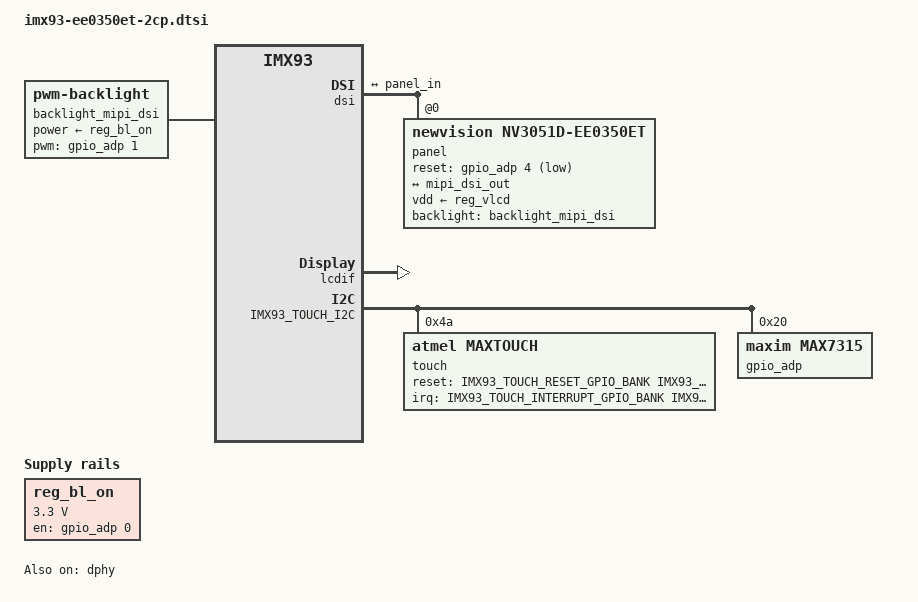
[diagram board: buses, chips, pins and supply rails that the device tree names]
// SPDX-License-Identifier: GPL-2.0
/*
* Copyright 2024 F&S Elektronik Systeme GmbH
*
* This program is free software; you can redistribute it and/or modify
* it under the terms of the GNU General Public License version 2 as
* published by the Free Software Foundation.
*
* This program is distributed in the hope that it will be useful,
* but WITHOUT ANY WARRANTY; without even the implied warranty of
* MERCHANTABILITY or FITNESS FOR A PARTICULAR PURPOSE.  See the
* GNU General Public License for more details.
*/


/ {
	reg_bl_on: bl_on {
		compatible = "regulator-fixed";
		regulator-name = "BL_ON";
		gpio = <&gpio_adp 0 GPIO_ACTIVE_HIGH>;
		regulator-min-microvolt = <3300000>;
		regulator-max-microvolt = <3300000>;
		enable-active-high;
	};


	backlight_mipi_dsi: backlight_mipi_dsi {
		compatible = "pwm-backlight";
		#pwm-cells = <3>;
		pwms = <&gpio_adp 1 31250 1>;
		power-supply = <&reg_bl_on>;
		brightness-levels = <0 17 34 51 68 85 102 119 136
				     153 170 187 204 221 238 255>;
		default-brightness-level = <14>;
		fb-names = "mxs-lcdif0";
		status = "okay";
	};
};

&dsi {
	#address-cells = <1>;
	#size-cells = <0>;
	status = "okay";

	ports {
		port@1 {
			reg = <1>;

			mipi_dsi_out: endpoint {
				remote-endpoint = <&panel_in>;
			};
		};
	};

	panel: panel@0 {
		compatible = "newvision,nv3051d-ee0350et";
		reg = <0>;
		vdd-supply = <&reg_vlcd>;
		backlight = <&backlight_mipi_dsi>;
		reset-gpios = <&gpio_adp 4 GPIO_ACTIVE_LOW>;
		port {
			panel_in: endpoint {
				remote-endpoint = <&mipi_dsi_out>;
			};
		};
	};
};

&lcdif {
	assigned-clock-rates = <400000000>, <20000000>, <400000000>, <133333333>;
	status = "okay";
};

&dphy {
	status = "okay";
};

&IMX93_TOUCH_I2C {

	/* Atmel PCAP touch on Touch Connector (I2C) */
	touch: mxt336u@4a {
		compatible = "atmel,maxtouch";
		reg = <0x4a>;
		atmel,cfg_name = "atmel/mxt336u-gloves.cfg";
		reset-gpios = <&IMX93_TOUCH_RESET_GPIO_BANK IMX93_TOUCH_RESET_GPIO_NUM GPIO_ACTIVE_LOW>;
		interrupt-parent = <&IMX93_TOUCH_INTERRUPT_GPIO_BANK>;
		interrupts = <IMX93_TOUCH_INTERRUPT_GPIO_NUM IRQ_TYPE_EDGE_FALLING>;
	};

    /* LED-driver on adapter board MIPI2MIPI1 */
    gpio_adp: max7315@20 { /* LED-driver */
        compatible = "maxim,max7315";
        reg = <0x20>;
        /* interrupt not yet supported */
        //interrupt-parent = <&gpio4>;
        //interrupts = <31 IRQ_TYPE_LEVEL_LOW>;
        //#interrupt-cells = <2>;
        //interrupt-controller;
        gpio-controller;
        #gpio-cells = <2>;
        pwm-controller;
        #pwm-cells = <3>;
    };

};

